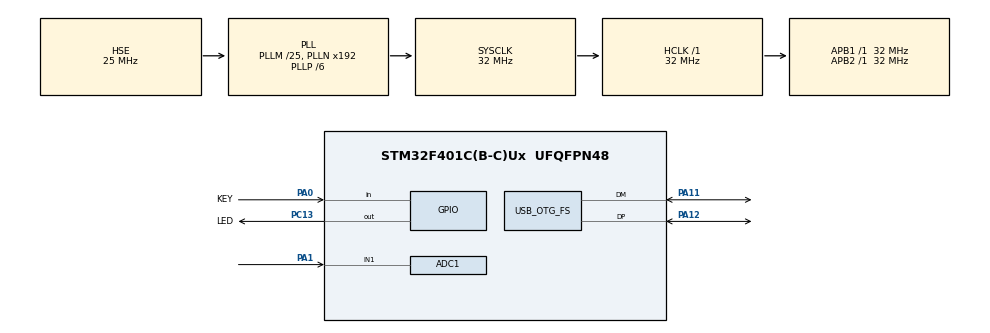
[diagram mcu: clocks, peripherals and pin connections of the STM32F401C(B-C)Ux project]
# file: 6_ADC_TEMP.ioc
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ADC1.Channel-0\#ChannelRegularConversion=ADC_CHANNEL_1
ADC1.ContinuousConvMode=DISABLE
ADC1.NbrOfConversionFlag=1
ADC1.Rank-0\#ChannelRegularConversion=1
ADC1.SamplingTime-0\#ChannelRegularConversion=ADC_SAMPLETIME_3CYCLES
ADC1.master=1
Mcu.Family=STM32F4
Mcu.Name=STM32F401C(B-C)Ux
Mcu.Package=UFQFPN48
NVIC.OTG_FS_IRQn=true\:0\:0\:false\:false\:true\:false\:true
NVIC.PriorityGroup=NVIC_PRIORITYGROUP_4
PA0-WKUP.GPIO_Label=KEY
PA0-WKUP.GPIO_PuPd=GPIO_PULLUP
PA0-WKUP.Signal=GPIO_Input
PA1.Signal=ADCx_IN1
PA11.Mode=Device_Only
PA11.Signal=USB_OTG_FS_DM
PA12.Mode=Device_Only
PA12.Signal=USB_OTG_FS_DP
PA13.Mode=Serial_Wire
PA13.Signal=SYS_JTMS-SWDIO
PA14.Mode=Serial_Wire
PA14.Signal=SYS_JTCK-SWCLK
PC13-ANTI_TAMP.GPIO_Label=LED
PC13-ANTI_TAMP.PinState=GPIO_PIN_SET
PC13-ANTI_TAMP.Signal=GPIO_Output
PH0\ -\ OSC_IN.Mode=HSE-External-Oscillator
PH0\ -\ OSC_IN.Signal=RCC_OSC_IN
PH1\ -\ OSC_OUT.Mode=HSE-External-Oscillator
PH1\ -\ OSC_OUT.Signal=RCC_OSC_OUT
ProjectManager.HeapSize=0x200
ProjectManager.StackSize=0x400
ProjectManager.TargetToolchain=STM32CubeIDE
RCC.48MHZClocksFreq_Value=48000000
RCC.AHBFreq_Value=32000000
RCC.APB1Freq_Value=32000000
RCC.APB1TimFreq_Value=32000000
RCC.APB2Freq_Value=32000000
RCC.APB2TimFreq_Value=32000000
RCC.CortexFreq_Value=32000000
RCC.HCLKFreq_Value=32000000
RCC.HSE_VALUE=25000000
RCC.HSI_VALUE=16000000
RCC.LSE_VALUE=32768
RCC.PLLM=25
RCC.PLLP=RCC_PLLP_DIV6
RCC.SYSCLKFreq_VALUE=32000000
RCC.SYSCLKSource=RCC_SYSCLKSOURCE_PLLCLK
RCC.VCOOutputFreq_Value=192000000
SH.ADCx_IN1.0=ADC1_IN1,IN1
USB_DEVICE.CLASS_NAME_FS=CDC
USB_DEVICE.VirtualMode=Cdc
USB_DEVICE.VirtualModeFS=Cdc_FS
USB_OTG_FS.VirtualMode=Device_Only
VP_ADC1_TempSens_Input.Mode=IN-TempSens
VP_USB_DEVICE_VS_USB_DEVICE_CDC_FS.Mode=CDC_FS
board=custom

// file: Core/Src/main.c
/* USER CODE BEGIN Header */
/**
  ******************************************************************************
  * @file           : main.c
  * @brief          : Main program body
  ******************************************************************************
  * @attention
  *
  * Copyright (c) 2022 STMicroelectronics.
  * All rights reserved.
  *
  * This software is licensed under terms that can be found in the LICENSE file
  * in the root directory of this software component.
  * If no LICENSE file comes with this software, it is provided AS-IS.
  *
  ******************************************************************************
  */
/* USER CODE END Header */
#include "main.h"
#include "adc.h"
#include "usb_device.h"
#include "gpio.h"

/* USER CODE BEGIN PV */
char MSG[20];
uint16_t rawValue;
float Temp;
uint8_t sFlag = RESET;
/* USER CODE END PV */

void SystemClock_Config(void);

/* USER CODE BEGIN 0 */
void HAL_IncTick(void)
{
	uwTick += uwTickFreq;

	if ((uwTick % 1000) == 0) {
		sFlag = SET;
	}
}
/* USER CODE END 0 */

int main(void)
{

  /* MCU Configuration--------------------------------------------------------*/

  /* Reset of all peripherals, Initializes the Flash interface and the Systick. */
  HAL_Init();

  /* Configure the system clock */
  SystemClock_Config();

  /* Initialize all configured peripherals */
  MX_GPIO_Init();
  MX_ADC1_Init();
  MX_USB_DEVICE_Init();

  /* Infinite loop */
  /* USER CODE BEGIN WHILE */
  while (1)
  {
	  HAL_ADC_Start(&hadc1);
	  HAL_ADC_PollForConversion(&hadc1, HAL_MAX_DELAY);

	  rawValue = HAL_ADC_GetValue(&hadc1);
	  Temp = (float)rawValue / 4095 * 3300;
	  Temp = ((Temp - 760.0) / 2.5) + 25;
	  sprintf(MSG, "Temp: %f\r\n", Temp);

	  if (sFlag) {
		  sFlag = RESET;
		  while (CDC_Transmit_FS((uint8_t *)MSG, strlen(MSG)) == USBD_OK) {}
	  }
    /* USER CODE END WHILE */

    /* USER CODE BEGIN 3 */
	  __NOP();
  }
  /* USER CODE END 3 */
}

void SystemClock_Config(void)
{
  RCC_OscInitTypeDef RCC_OscInitStruct = {0};
  RCC_ClkInitTypeDef RCC_ClkInitStruct = {0};

  /** Configure the main internal regulator output voltage
  */
  __HAL_RCC_PWR_CLK_ENABLE();
  __HAL_PWR_VOLTAGESCALING_CONFIG(PWR_REGULATOR_VOLTAGE_SCALE2);
  /** Initializes the RCC Oscillators according to the specified parameters
  * in the RCC_OscInitTypeDef structure.
  */
  RCC_OscInitStruct.OscillatorType = RCC_OSCILLATORTYPE_HSE;
  RCC_OscInitStruct.HSEState = RCC_HSE_ON;
  RCC_OscInitStruct.PLL.PLLState = RCC_PLL_ON;
  RCC_OscInitStruct.PLL.PLLSource = RCC_PLLSOURCE_HSE;
  RCC_OscInitStruct.PLL.PLLM = 25;
  RCC_OscInitStruct.PLL.PLLN = 192;
  RCC_OscInitStruct.PLL.PLLP = RCC_PLLP_DIV6;
  RCC_OscInitStruct.PLL.PLLQ = 4;
  if (HAL_RCC_OscConfig(&RCC_OscInitStruct) != HAL_OK)
  {
    Error_Handler();
  }
  /** Initializes the CPU, AHB and APB buses clocks
  */
  RCC_ClkInitStruct.ClockType = RCC_CLOCKTYPE_HCLK|RCC_CLOCKTYPE_SYSCLK
                              |RCC_CLOCKTYPE_PCLK1|RCC_CLOCKTYPE_PCLK2;
  RCC_ClkInitStruct.SYSCLKSource = RCC_SYSCLKSOURCE_PLLCLK;
  RCC_ClkInitStruct.AHBCLKDivider = RCC_SYSCLK_DIV1;
  RCC_ClkInitStruct.APB1CLKDivider = RCC_HCLK_DIV1;
  RCC_ClkInitStruct.APB2CLKDivider = RCC_HCLK_DIV1;

  if (HAL_RCC_ClockConfig(&RCC_ClkInitStruct, FLASH_LATENCY_1) != HAL_OK)
  {
    Error_Handler();
  }
}

void Error_Handler(void)
{
  __disable_irq();
  while (1)
  {
  }
}
